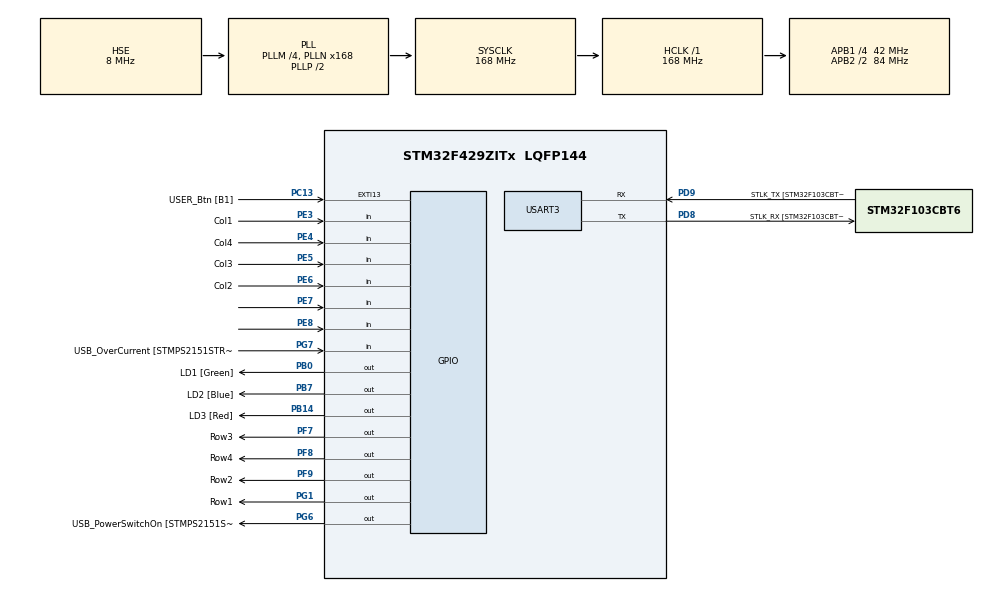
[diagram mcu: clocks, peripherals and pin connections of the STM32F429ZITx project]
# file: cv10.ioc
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Mcu.Family=STM32F4
Mcu.Name=STM32F429ZITx
Mcu.Package=LQFP144
NVIC.PriorityGroup=NVIC_PRIORITYGROUP_4
NVIC.TIM3_IRQn=true\:0\:0\:false\:false\:true\:true\:true\:true
PA1.GPIO_Label=RMII_REF_CLK [LAN8742A-CZ-TR_REFCLK0]
PA1.Signal=ETH_REF_CLK
PA10.GPIO_Label=USB_ID
PA10.Signal=USB_OTG_FS_ID
PA11.GPIO_Label=USB_DM
PA11.Signal=USB_OTG_FS_DM
PA12.GPIO_Label=USB_DP
PA12.Signal=USB_OTG_FS_DP
PA13.GPIO_Label=TMS
PA13.Mode=Serial_Wire
PA13.Signal=SYS_JTMS-SWDIO
PA14.GPIO_Label=TCK
PA14.Mode=Serial_Wire
PA14.Signal=SYS_JTCK-SWCLK
PA2.GPIO_Label=RMII_MDIO [LAN8742A-CZ-TR_MDIO]
PA2.Signal=ETH_MDIO
PA7.GPIO_Label=RMII_CRS_DV [LAN8742A-CZ-TR_CRS_DV]
PA7.Signal=ETH_CRS_DV
PA8.GPIO_Label=USB_SOF [TP1]
PA8.Signal=USB_OTG_FS_SOF
PA9.GPIO_Label=USB_VBUS
PA9.Signal=USB_OTG_FS_VBUS
PB0.GPIO_Label=LD1 [Green]
PB0.Signal=GPIO_Output
PB13.GPIO_Label=RMII_TXD1 [LAN8742A-CZ-TR_TXD1]
PB13.Signal=ETH_TXD1
PB14.GPIO_Label=LD3 [Red]
PB14.Signal=GPIO_Output
PB7.GPIO_Label=LD2 [Blue]
PB7.Signal=GPIO_Output
PC1.GPIO_Label=RMII_MDC [LAN8742A-CZ-TR_MDC]
PC1.Signal=ETH_MDC
PC13.GPIO_Label=USER_Btn [B1]
PC13.Signal=GPXTI13
PC14/OSC32_IN.Mode=LSE-External-Oscillator
PC14/OSC32_IN.Signal=RCC_OSC32_IN
PC15/OSC32_OUT.Mode=LSE-External-Oscillator
PC15/OSC32_OUT.Signal=RCC_OSC32_OUT
PC4.GPIO_Label=RMII_RXD0 [LAN8742A-CZ-TR_RXD0]
PC4.Signal=ETH_RXD0
PC5.GPIO_Label=RMII_RXD1 [LAN8742A-CZ-TR_RXD1]
PC5.Signal=ETH_RXD1
PD8.GPIO_Label=STLK_RX [STM32F103CBT6_PA3]
PD8.Mode=Asynchronous
PD8.Signal=USART3_TX
PD9.GPIO_Label=STLK_TX [STM32F103CBT6_PA2]
PD9.Mode=Asynchronous
PD9.Signal=USART3_RX
PE3.GPIO_Label=Col1
PE3.GPIO_PuPd=GPIO_PULLUP
PE3.Signal=GPIO_Input
PE4.GPIO_Label=Col4
PE4.GPIO_PuPd=GPIO_PULLUP
PE4.Signal=GPIO_Input
PE5.GPIO_Label=Col3
PE5.GPIO_PuPd=GPIO_PULLUP
PE5.Signal=GPIO_Input
PE6.GPIO_Label=Col2
PE6.GPIO_PuPd=GPIO_PULLUP
PE6.Signal=GPIO_Input
PE7.Signal=GPIO_Input
PE8.Signal=GPIO_Input
PF7.GPIO_Label=Row3
PF7.GPIO_ModeDefaultOutputPP=GPIO_MODE_OUTPUT_OD
PF7.GPIO_PuPd=GPIO_NOPULL
PF7.Signal=GPIO_Output
PF8.GPIO_Label=Row4
PF8.GPIO_ModeDefaultOutputPP=GPIO_MODE_OUTPUT_OD
PF8.GPIO_PuPd=GPIO_NOPULL
PF8.Signal=GPIO_Output
PF9.GPIO_Label=Row2
PF9.GPIO_ModeDefaultOutputPP=GPIO_MODE_OUTPUT_OD
PF9.GPIO_PuPd=GPIO_NOPULL
PF9.Signal=GPIO_Output
PG1.GPIO_Label=Row1
PG1.GPIO_ModeDefaultOutputPP=GPIO_MODE_OUTPUT_OD
PG1.GPIO_PuPd=GPIO_NOPULL
PG1.Signal=GPIO_Output
PG11.GPIO_Label=RMII_TX_EN [LAN8742A-CZ-TR_TXEN]
PG11.Signal=ETH_TX_EN
PG13.GPIO_Label=RMII_TXD0 [LAN8742A-CZ-TR_TXD0]
PG13.Signal=ETH_TXD0
PG6.GPIO_Label=USB_PowerSwitchOn [STMPS2151STR_EN]
PG6.Signal=GPIO_Output
PG7.GPIO_Label=USB_OverCurrent [STMPS2151STR_FAULT]
PG7.Signal=GPIO_Input
PH0/OSC_IN.GPIO_Label=MCO [STM32F103CBT6_PA8]
PH0/OSC_IN.Mode=HSE-External-Clock-Source
PH0/OSC_IN.Signal=RCC_OSC_IN
PH1/OSC_OUT.Mode=HSE-External-Clock-Source
PH1/OSC_OUT.Signal=RCC_OSC_OUT
ProjectManager.HeapSize=0x200
ProjectManager.StackSize=0x400
ProjectManager.TargetToolchain=STM32CubeIDE
RCC.48MHZClocksFreq_Value=48000000
RCC.AHBFreq_Value=168000000
RCC.APB1CLKDivider=RCC_HCLK_DIV4
RCC.APB1Freq_Value=42000000
RCC.APB1TimFreq_Value=84000000
RCC.APB2CLKDivider=RCC_HCLK_DIV2
RCC.APB2Freq_Value=84000000
RCC.APB2TimCLKDivider=2
RCC.APB2TimFreq_Value=168000000
RCC.CortexFreq_Value=168000000
RCC.HCLKFreq_Value=168000000
RCC.HSE_VALUE=8000000
RCC.HSI_VALUE=16000000
RCC.PLLM=4
RCC.PLLMUL=RCC_PLL_MUL9
RCC.PLLN=168
RCC.PLLQ=7
RCC.PLLSourceVirtual=RCC_PLLSOURCE_HSE
RCC.PRESCALERUSB=RCC_USBCLKSOURCE_PLL_DIV1_5
RCC.SYSCLKFreq_VALUE=168000000
RCC.SYSCLKSource=RCC_SYSCLKSOURCE_PLLCLK
RCC.SYSCLKSourceVirtual=RCC_SYSCLKSOURCE_PLLCLK
RCC.USBFreq_Value=48000000
RCC.VCOOutputFreq_Value=336000000
TIM3.AutoReloadPreload=TIM_AUTORELOAD_PRELOAD_ENABLE
TIM3.Period=99
TIM3.Prescaler=8399
USART3.VirtualMode=VM_ASYNC
VP_TIM3_VS_ClockSourceINT.Mode=Internal
board=NUCLEO-F429ZI

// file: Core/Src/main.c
/* USER CODE BEGIN Header */
/**
  ******************************************************************************
  * @file           : main.c
  * @brief          : Main program body
  ******************************************************************************
  * @attention
  *
  * Copyright (c) 2022 STMicroelectronics.
  * All rights reserved.
  *
  * This software is licensed under terms that can be found in the LICENSE file
  * in the root directory of this software component.
  * If no LICENSE file comes with this software, it is provided AS-IS.
  *
  ******************************************************************************
  */
/* USER CODE END Header */
#include "main.h"

/* USER CODE BEGIN Includes */
#include <stdio.h>

/* USER CODE END Includes */

/* USER CODE BEGIN PD */
#define TIMEOUT 5000

/* USER CODE END PD */

TIM_HandleTypeDef htim3;

UART_HandleTypeDef huart3;

/* USER CODE BEGIN PV */
static volatile int8_t key = -1;
void HAL_TIM_PeriodElapsedCallback(TIM_HandleTypeDef *htim);
/* USER CODE END PV */

void SystemClock_Config(void);
static void MX_GPIO_Init(void);
static void MX_USART3_UART_Init(void);
static void MX_TIM3_Init(void);

/* USER CODE BEGIN 0 */
int __io_putchar(int ch){
	ITM_SendChar(ch);
	return 0;
}

/* USER CODE END 0 */

int main(void)
{

  /* MCU Configuration--------------------------------------------------------*/

  /* Reset of all peripherals, Initializes the Flash interface and the Systick. */
  HAL_Init();

  /* Configure the system clock */
  SystemClock_Config();

  /* Initialize all configured peripherals */
  MX_GPIO_Init();
  MX_USART3_UART_Init();
  MX_TIM3_Init();
  /* USER CODE BEGIN 2 */
  HAL_TIM_Base_Start_IT(&htim3);
  /* USER CODE END 2 */

  /* Infinite loop */
  /* USER CODE BEGIN WHILE */
  uint8_t pole[] = {7, 9, 3, 2, 12};
  uint8_t pozice = 0;
  uint16_t time = 0;
  while (1)
  {
    /* USER CODE END WHILE */

    /* USER CODE BEGIN 3 */
	  if((pozice != 0) && (HAL_GetTick() > time + TIMEOUT)){
		  printf("Timeout!\n");
		  pozice = 0;
		  HAL_GPIO_WritePin(LD3_GPIO_Port, LD3_Pin, 1); // cervena
		  HAL_Delay(250);
		  HAL_GPIO_WritePin(LD3_GPIO_Port, LD3_Pin, 0);
	  }
	  if(key != -1){

		  printf("stisknuto: %2d  ", key);
		  printf("znak na pozici: %2d\n", pole[pozice]);
		  if(key == pole[pozice]){
			  if(pozice == 4){
				  printf("Hacked!\n");
				  HAL_GPIO_WritePin(LD1_GPIO_Port, LD1_Pin, 1); // zelena
				  pozice = 0;
			  }
			  else{
				  time = HAL_GetTick();
				  pozice++;
				  HAL_GPIO_WritePin(LD2_GPIO_Port, LD2_Pin, 1); // modra
				  }
		  }
		  else{
			  pozice = 0;
			  HAL_GPIO_WritePin(LD3_GPIO_Port, LD3_Pin, 1); // cervena
		  }

		  HAL_Delay(250);
		  key = -1;

	  }
	  HAL_GPIO_WritePin(LD1_GPIO_Port, LD1_Pin, 0);
	  HAL_GPIO_WritePin(LD2_GPIO_Port, LD2_Pin, 0);
	  HAL_GPIO_WritePin(LD3_GPIO_Port, LD3_Pin, 0);
  }
  /* USER CODE END 3 */
}

void SystemClock_Config(void)
{
  RCC_OscInitTypeDef RCC_OscInitStruct = {0};
  RCC_ClkInitTypeDef RCC_ClkInitStruct = {0};

  /** Configure the main internal regulator output voltage
  */
  __HAL_RCC_PWR_CLK_ENABLE();
  __HAL_PWR_VOLTAGESCALING_CONFIG(PWR_REGULATOR_VOLTAGE_SCALE1);

  /** Initializes the RCC Oscillators according to the specified parameters
  * in the RCC_OscInitTypeDef structure.
  */
  RCC_OscInitStruct.OscillatorType = RCC_OSCILLATORTYPE_HSE;
  RCC_OscInitStruct.HSEState = RCC_HSE_BYPASS;
  RCC_OscInitStruct.PLL.PLLState = RCC_PLL_ON;
  RCC_OscInitStruct.PLL.PLLSource = RCC_PLLSOURCE_HSE;
  RCC_OscInitStruct.PLL.PLLM = 4;
  RCC_OscInitStruct.PLL.PLLN = 168;
  RCC_OscInitStruct.PLL.PLLP = RCC_PLLP_DIV2;
  RCC_OscInitStruct.PLL.PLLQ = 7;
  if (HAL_RCC_OscConfig(&RCC_OscInitStruct) != HAL_OK)
  {
    Error_Handler();
  }

  /** Initializes the CPU, AHB and APB buses clocks
  */
  RCC_ClkInitStruct.ClockType = RCC_CLOCKTYPE_HCLK|RCC_CLOCKTYPE_SYSCLK
                              |RCC_CLOCKTYPE_PCLK1|RCC_CLOCKTYPE_PCLK2;
  RCC_ClkInitStruct.SYSCLKSource = RCC_SYSCLKSOURCE_PLLCLK;
  RCC_ClkInitStruct.AHBCLKDivider = RCC_SYSCLK_DIV1;
  RCC_ClkInitStruct.APB1CLKDivider = RCC_HCLK_DIV4;
  RCC_ClkInitStruct.APB2CLKDivider = RCC_HCLK_DIV2;

  if (HAL_RCC_ClockConfig(&RCC_ClkInitStruct, FLASH_LATENCY_5) != HAL_OK)
  {
    Error_Handler();
  }
}

static void MX_TIM3_Init(void)
{

  TIM_ClockConfigTypeDef sClockSourceConfig = {0};
  TIM_MasterConfigTypeDef sMasterConfig = {0};

  htim3.Instance = TIM3;
  htim3.Init.Prescaler = 8399;
  htim3.Init.CounterMode = TIM_COUNTERMODE_UP;
  htim3.Init.Period = 99;
  htim3.Init.ClockDivision = TIM_CLOCKDIVISION_DIV1;
  htim3.Init.AutoReloadPreload = TIM_AUTORELOAD_PRELOAD_ENABLE;
  if (HAL_TIM_Base_Init(&htim3) != HAL_OK)
  {
    Error_Handler();
  }
  sClockSourceConfig.ClockSource = TIM_CLOCKSOURCE_INTERNAL;
  if (HAL_TIM_ConfigClockSource(&htim3, &sClockSourceConfig) != HAL_OK)
  {
    Error_Handler();
  }
  sMasterConfig.MasterOutputTrigger = TIM_TRGO_RESET;
  sMasterConfig.MasterSlaveMode = TIM_MASTERSLAVEMODE_DISABLE;
  if (HAL_TIMEx_MasterConfigSynchronization(&htim3, &sMasterConfig) != HAL_OK)
  {
    Error_Handler();
  }

}

static void MX_USART3_UART_Init(void)
{

  huart3.Instance = USART3;
  huart3.Init.BaudRate = 115200;
  huart3.Init.WordLength = UART_WORDLENGTH_8B;
  huart3.Init.StopBits = UART_STOPBITS_1;
  huart3.Init.Parity = UART_PARITY_NONE;
  huart3.Init.Mode = UART_MODE_TX_RX;
  huart3.Init.HwFlowCtl = UART_HWCONTROL_NONE;
  huart3.Init.OverSampling = UART_OVERSAMPLING_16;
  if (HAL_UART_Init(&huart3) != HAL_OK)
  {
    Error_Handler();
  }

}

static void MX_GPIO_Init(void)
{
  GPIO_InitTypeDef GPIO_InitStruct = {0};

  /* GPIO Ports Clock Enable */
  __HAL_RCC_GPIOE_CLK_ENABLE();
  __HAL_RCC_GPIOC_CLK_ENABLE();
  __HAL_RCC_GPIOF_CLK_ENABLE();
  __HAL_RCC_GPIOH_CLK_ENABLE();
  __HAL_RCC_GPIOA_CLK_ENABLE();
  __HAL_RCC_GPIOB_CLK_ENABLE();
  __HAL_RCC_GPIOG_CLK_ENABLE();
  __HAL_RCC_GPIOD_CLK_ENABLE();

  /*Configure GPIO pin Output Level */
  HAL_GPIO_WritePin(GPIOF, Row3_Pin|Row4_Pin|Row2_Pin, GPIO_PIN_RESET);

  /*Configure GPIO pin Output Level */
  HAL_GPIO_WritePin(GPIOB, LD1_Pin|LD3_Pin|LD2_Pin, GPIO_PIN_RESET);

  /*Configure GPIO pin Output Level */
  HAL_GPIO_WritePin(GPIOG, Row1_Pin|USB_PowerSwitchOn_Pin, GPIO_PIN_RESET);

  /*Configure GPIO pins : Col1_Pin Col4_Pin Col3_Pin Col2_Pin */
  GPIO_InitStruct.Pin = Col1_Pin|Col4_Pin|Col3_Pin|Col2_Pin;
  GPIO_InitStruct.Mode = GPIO_MODE_INPUT;
  GPIO_InitStruct.Pull = GPIO_PULLUP;
  HAL_GPIO_Init(GPIOE, &GPIO_InitStruct);

  /*Configure GPIO pin : USER_Btn_Pin */
  GPIO_InitStruct.Pin = USER_Btn_Pin;
  GPIO_InitStruct.Mode = GPIO_MODE_IT_RISING;
  GPIO_InitStruct.Pull = GPIO_NOPULL;
  HAL_GPIO_Init(USER_Btn_GPIO_Port, &GPIO_InitStruct);

  /*Configure GPIO pins : Row3_Pin Row4_Pin Row2_Pin */
  GPIO_InitStruct.Pin = Row3_Pin|Row4_Pin|Row2_Pin;
  GPIO_InitStruct.Mode = GPIO_MODE_OUTPUT_OD;
  GPIO_InitStruct.Pull = GPIO_NOPULL;
  GPIO_InitStruct.Speed = GPIO_SPEED_FREQ_LOW;
  HAL_GPIO_Init(GPIOF, &GPIO_InitStruct);

  /*Configure GPIO pins : RMII_MDC_Pin RMII_RXD0_Pin RMII_RXD1_Pin */
  GPIO_InitStruct.Pin = RMII_MDC_Pin|RMII_RXD0_Pin|RMII_RXD1_Pin;
  GPIO_InitStruct.Mode = GPIO_MODE_AF_PP;
  GPIO_InitStruct.Pull = GPIO_NOPULL;
  GPIO_InitStruct.Speed = GPIO_SPEED_FREQ_VERY_HIGH;
  GPIO_InitStruct.Alternate = GPIO_AF11_ETH;
  HAL_GPIO_Init(GPIOC, &GPIO_InitStruct);

  /*Configure GPIO pins : RMII_REF_CLK_Pin RMII_MDIO_Pin RMII_CRS_DV_Pin */
  GPIO_InitStruct.Pin = RMII_REF_CLK_Pin|RMII_MDIO_Pin|RMII_CRS_DV_Pin;
  GPIO_InitStruct.Mode = GPIO_MODE_AF_PP;
  GPIO_InitStruct.Pull = GPIO_NOPULL;
  GPIO_InitStruct.Speed = GPIO_SPEED_FREQ_VERY_HIGH;
  GPIO_InitStruct.Alternate = GPIO_AF11_ETH;
  HAL_GPIO_Init(GPIOA, &GPIO_InitStruct);

  /*Configure GPIO pins : LD1_Pin LD3_Pin LD2_Pin */
  GPIO_InitStruct.Pin = LD1_Pin|LD3_Pin|LD2_Pin;
  GPIO_InitStruct.Mode = GPIO_MODE_OUTPUT_PP;
  GPIO_InitStruct.Pull = GPIO_NOPULL;
  GPIO_InitStruct.Speed = GPIO_SPEED_FREQ_LOW;
  HAL_GPIO_Init(GPIOB, &GPIO_InitStruct);

  /*Configure GPIO pin : Row1_Pin */
  GPIO_InitStruct.Pin = Row1_Pin;
  GPIO_InitStruct.Mode = GPIO_MODE_OUTPUT_OD;
  GPIO_InitStruct.Pull = GPIO_NOPULL;
  GPIO_InitStruct.Speed = GPIO_SPEED_FREQ_LOW;
  HAL_GPIO_Init(Row1_GPIO_Port, &GPIO_InitStruct);

  /*Configure GPIO pins : PE7 PE8 */
  GPIO_InitStruct.Pin = GPIO_PIN_7|GPIO_PIN_8;
  GPIO_InitStruct.Mode = GPIO_MODE_INPUT;
  GPIO_InitStruct.Pull = GPIO_NOPULL;
  HAL_GPIO_Init(GPIOE, &GPIO_InitStruct);

  /*Configure GPIO pin : RMII_TXD1_Pin */
  GPIO_InitStruct.Pin = RMII_TXD1_Pin;
  GPIO_InitStruct.Mode = GPIO_MODE_AF_PP;
  GPIO_InitStruct.Pull = GPIO_NOPULL;
  GPIO_InitStruct.Speed = GPIO_SPEED_FREQ_VERY_HIGH;
  GPIO_InitStruct.Alternate = GPIO_AF11_ETH;
  HAL_GPIO_Init(RMII_TXD1_GPIO_Port, &GPIO_InitStruct);

  /*Configure GPIO pin : USB_PowerSwitchOn_Pin */
  GPIO_InitStruct.Pin = USB_PowerSwitchOn_Pin;
  GPIO_InitStruct.Mode = GPIO_MODE_OUTPUT_PP;
  GPIO_InitStruct.Pull = GPIO_NOPULL;
  GPIO_InitStruct.Speed = GPIO_SPEED_FREQ_LOW;
  HAL_GPIO_Init(USB_PowerSwitchOn_GPIO_Port, &GPIO_InitStruct);

  /*Configure GPIO pin : USB_OverCurrent_Pin */
  GPIO_InitStruct.Pin = USB_OverCurrent_Pin;
  GPIO_InitStruct.Mode = GPIO_MODE_INPUT;
  GPIO_InitStruct.Pull = GPIO_NOPULL;
  HAL_GPIO_Init(USB_OverCurrent_GPIO_Port, &GPIO_InitStruct);

  /*Configure GPIO pins : USB_SOF_Pin USB_ID_Pin USB_DM_Pin USB_DP_Pin */
  GPIO_InitStruct.Pin = USB_SOF_Pin|USB_ID_Pin|USB_DM_Pin|USB_DP_Pin;
  GPIO_InitStruct.Mode = GPIO_MODE_AF_PP;
  GPIO_InitStruct.Pull = GPIO_NOPULL;
  GPIO_InitStruct.Speed = GPIO_SPEED_FREQ_VERY_HIGH;
  GPIO_InitStruct.Alternate = GPIO_AF10_OTG_FS;
  HAL_GPIO_Init(GPIOA, &GPIO_InitStruct);

  /*Configure GPIO pin : USB_VBUS_Pin */
  GPIO_InitStruct.Pin = USB_VBUS_Pin;
  GPIO_InitStruct.Mode = GPIO_MODE_INPUT;
  GPIO_InitStruct.Pull = GPIO_NOPULL;
  HAL_GPIO_Init(USB_VBUS_GPIO_Port, &GPIO_InitStruct);

  /*Configure GPIO pins : RMII_TX_EN_Pin RMII_TXD0_Pin */
  GPIO_InitStruct.Pin = RMII_TX_EN_Pin|RMII_TXD0_Pin;
  GPIO_InitStruct.Mode = GPIO_MODE_AF_PP;
  GPIO_InitStruct.Pull = GPIO_NOPULL;
  GPIO_InitStruct.Speed = GPIO_SPEED_FREQ_VERY_HIGH;
  GPIO_InitStruct.Alternate = GPIO_AF11_ETH;
  HAL_GPIO_Init(GPIOG, &GPIO_InitStruct);

}

/* USER CODE BEGIN 4 */
void HAL_TIM_PeriodElapsedCallback(TIM_HandleTypeDef *htim)
{
	static int row = 0;
	static const int keyboard[4][4] = {
			{ 1, 2, 3, 21 },
			{ 4, 5, 6, 22 },
			{ 7, 8, 9, 23 },
			{ 11, 0, 12, 24 },
	};
	if (key == -1) {
		if (HAL_GPIO_ReadPin(Col1_GPIO_Port, Col1_Pin) == GPIO_PIN_RESET) key = keyboard[row][0];
		if (HAL_GPIO_ReadPin(Col2_GPIO_Port, Col2_Pin) == GPIO_PIN_RESET) key = keyboard[row][1];
		if (HAL_GPIO_ReadPin(Col3_GPIO_Port, Col3_Pin) == GPIO_PIN_RESET) key = keyboard[row][2];
		if (HAL_GPIO_ReadPin(Col4_GPIO_Port, Col4_Pin) == GPIO_PIN_RESET) key = keyboard[row][3];

		// ... atd ...
	}
	HAL_GPIO_WritePin(Row1_GPIO_Port, Row1_Pin, GPIO_PIN_SET);
	HAL_GPIO_WritePin(Row2_GPIO_Port, Row2_Pin, GPIO_PIN_SET);
	HAL_GPIO_WritePin(Row3_GPIO_Port, Row3_Pin, GPIO_PIN_SET);
	HAL_GPIO_WritePin(Row4_GPIO_Port, Row4_Pin, GPIO_PIN_SET);
	switch (row) {
	case 0: row = 1; HAL_GPIO_WritePin(Row2_GPIO_Port, Row2_Pin, GPIO_PIN_RESET); break;
	case 1: row = 2; HAL_GPIO_WritePin(Row3_GPIO_Port, Row3_Pin, GPIO_PIN_RESET); break;
	case 2: row = 3; HAL_GPIO_WritePin(Row4_GPIO_Port, Row4_Pin, GPIO_PIN_RESET); break;
	case 3: row = 0; HAL_GPIO_WritePin(Row1_GPIO_Port, Row1_Pin, GPIO_PIN_RESET); break;
	// ... atd ...
	}
}
/* USER CODE END 4 */

void Error_Handler(void)
{
  __disable_irq();
  while (1)
  {
  }
}
